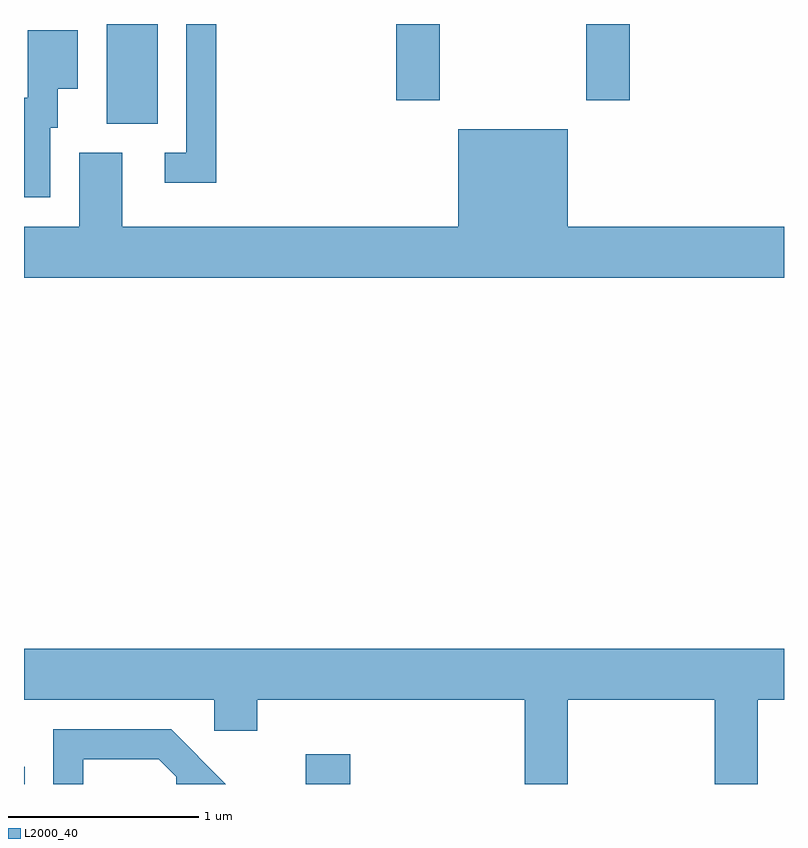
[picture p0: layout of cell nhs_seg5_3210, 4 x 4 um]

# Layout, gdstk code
import gdstk
lib = gdstk.Library(unit=1e-6, precision=1e-09)
def R(c, l, rs):  # rectangles x0, y0, x1, y1
    for r in rs: c.add(gdstk.rectangle(r[:2], r[2:], *l))
def P(c, l, *ps):  # polygons
    for p in ps: c.add(gdstk.Polygon(p, *l))
L2000_40 = (2000, 40)

nhs_seg5_3210 = lib.new_cell('nhs_seg5_3210')
R(nhs_seg5_3210, L2000_40, [(279.611,1514.072,279.614,1514.163), (281.093,1514.072,281.329,1514.229), (280.046,1517.546,280.314,1518.072), (281.571,1517.671,281.799,1518.072), (282.571,1517.671,282.799,1518.072)])
P(nhs_seg5_3210, L2000_40, [(280.624,1518.072),(280.466,1518.072),(280.466,1517.394),(280.353,1517.394),(280.353,1517.236),(280.624,1517.236)],
  [(279.749,1517.526),(279.789,1517.526),(279.789,1517.731),(279.894,1517.731),(279.894,1518.039),(279.631,1518.039),(279.631,1517.684),(279.611,1517.684),(279.611,1517.161),(279.749,1517.161)],
  [(283.611,1517.004),(282.474,1517.004),(282.474,1517.519),(281.896,1517.519),(281.896,1517.004),(280.129,1517.004),(280.129,1517.394),(279.901,1517.394),(279.901,1517.004),(279.611,1517.004),(279.611,1516.736),(283.611,1516.736)],
  [(282.474,1514.516),(283.246,1514.516),(283.246,1514.072),(283.474,1514.072),(283.474,1514.516),(283.611,1514.516),(283.611,1514.784),(279.611,1514.784),(279.611,1514.516),(280.611,1514.516),(280.611,1514.351),(280.839,1514.351),(280.839,1514.516),(282.246,1514.516),(282.246,1514.072),(282.474,1514.072)],
  [(279.924,1514.201),(280.319,1514.201),(280.411,1514.109),(280.411,1514.072),(280.674,1514.072),(280.387,1514.359),(279.766,1514.359),(279.766,1514.072),(279.924,1514.072)])

lib.write_gds('nhs_seg5_3210.gds')
